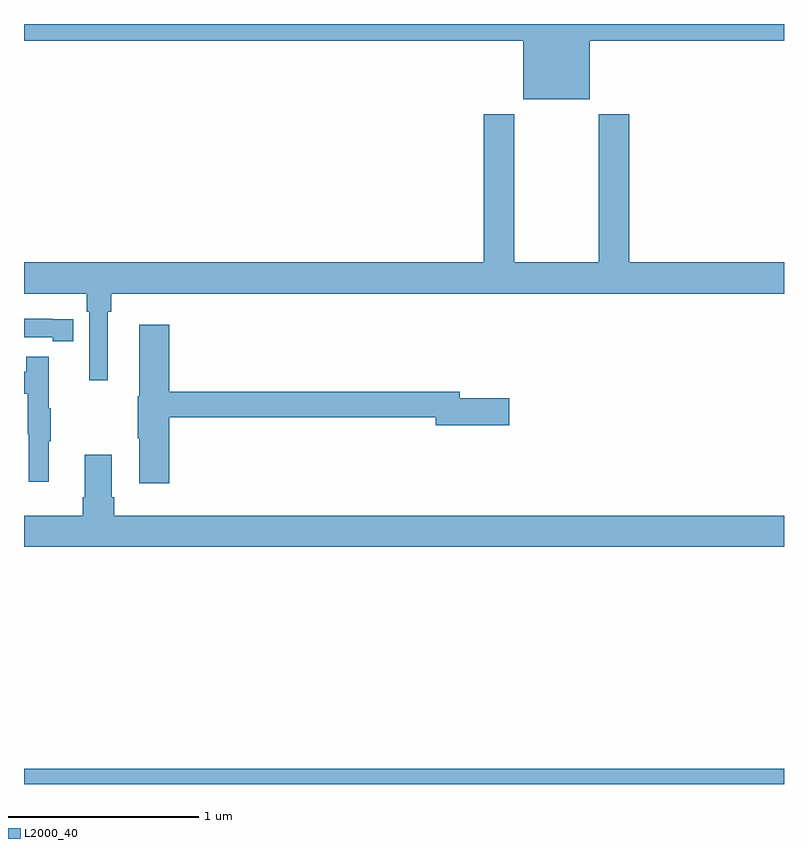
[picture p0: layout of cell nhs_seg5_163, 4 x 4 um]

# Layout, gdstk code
import gdstk
lib = gdstk.Library(unit=1e-6, precision=1e-09)
def R(c, l, rs):  # rectangles x0, y0, x1, y1
    for r in rs: c.add(gdstk.rectangle(r[:2], r[2:], *l))
def P(c, l, *ps):  # polygons
    for p in ps: c.add(gdstk.Polygon(p, *l))
L2000_40 = (2000, 40)

nhs_seg5_163 = lib.new_cell('nhs_seg5_163')
R(nhs_seg5_163, L2000_40, [(119,900.799,123,900.88)])
P(nhs_seg5_163, L2000_40, [(121.978,904.712),(123,904.712),(123,904.799),(119,904.799),(119,904.712),(121.628,904.712),(121.628,904.403),(121.978,904.403)],
  [(119.44,903.284),(119.459,903.284),(119.459,903.38),(123,903.38),(123,903.544),(122.186,903.544),(122.186,904.324),(122.026,904.324),(122.026,903.544),(121.581,903.544),(121.581,904.324),(121.421,904.324),(121.421,903.544),(119,903.544),(119,903.38),(119.33,903.38),(119.33,903.284),(119.343,903.284),(119.343,902.925),(119.44,902.925)],
  [(119.258,903.246),(119.15,903.246),(119.15,903.247),(119,903.247),(119,903.15),(119.15,903.15),(119.15,903.13),(119.258,903.13)],
  [(119.765,902.728),(121.166,902.728),(121.166,902.686),(121.555,902.686),(121.555,902.828),(121.294,902.828),(121.294,902.864),(119.765,902.864),(119.765,903.217),(119.606,903.217),(119.606,902.841),(119.599,902.841),(119.599,902.62),(119.606,902.62),(119.606,902.382),(119.765,902.382)],
  [(119.129,902.603),(119.14,902.603),(119.14,902.777),(119.129,902.777),(119.129,903.049),(119.011,903.049),(119.011,902.97),(119,902.97),(119,902.854),(119.019,902.854),(119.019,902.64),(119.026,902.64),(119.026,902.391),(119.129,902.391)],
  [(123,902.212),(119.474,902.212),(119.474,902.308),(119.461,902.308),(119.461,902.533),(119.321,902.533),(119.321,902.308),(119.309,902.308),(119.309,902.212),(119,902.212),(119,902.048),(123,902.048)])

lib.write_gds('nhs_seg5_163.gds')
